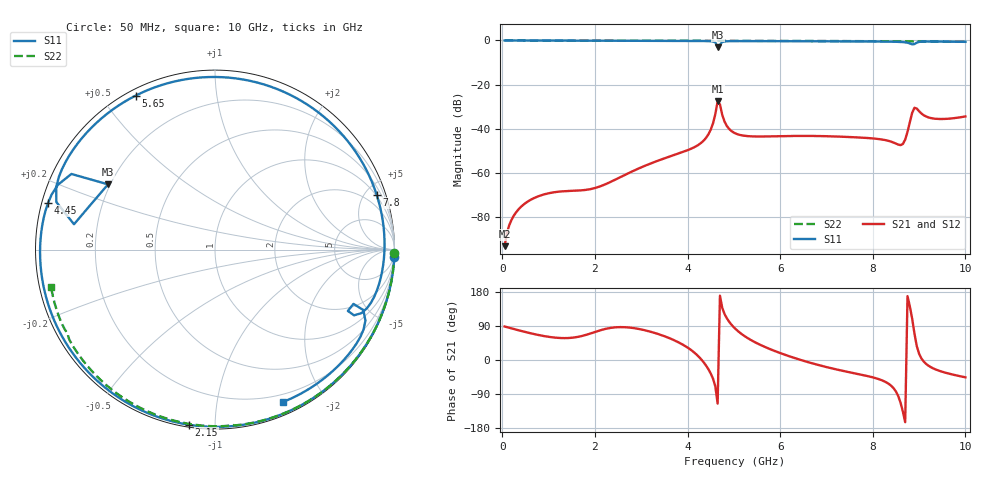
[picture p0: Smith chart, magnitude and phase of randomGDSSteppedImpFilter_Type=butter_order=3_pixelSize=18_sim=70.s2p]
! freq	dB(S11)	phase(S11)	dB(S12)	phase(S12)
!  dB(S21)	phase(S21)	dB(S22)	phase(S22)
!S-par simulation data
#  GHz  S  DB  R 50
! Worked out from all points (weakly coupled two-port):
!   200 points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, 50 MHz to 10 GHz, reference 50 ohm
!   highest |S21| = -27.58 dB at 4.65 GHz (marker M1); lowest = -93.1 dB at 50 MHz (marker M2)
!   lowest |S11| = -3.1 dB at 4.65 GHz (marker M3), VSWR 5.63, Z = 9.56 + j13.6 ohm
!   |S11| at or under -10 dB: nowhere
!   |S22| runs from -0.6 to 0.0 dB; largest |S21 - S12| = 0
!   S11 on the Smith chart (normalised r, x): 50 MHz: 0, -47; 2.15 GHz: 0.01, -0.86; 4.45 GHz: 0.02, +0.14; 5.65 GHz: 0.02, +0.61; 7.8 GHz: 0.93, +5.94; 10 GHz: 0.12, -1.53
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0.05  -0.00 -2.4  -93.14 88.4  -93.14 88.4  -0.00 -1.0
0.2  -0.01 -9.6  -81.17 83.4  -81.17 83.4  -0.01 -3.9
0.8  -0.05 -38.0  -70.38 65.5  -70.38 65.5  -0.02 -15.4
1.75  -0.10 -81.2  -67.78 64.3  -67.78 64.3  -0.04 -33.4
2.15  -0.12 -98.4  -65.77 79.6  -65.77 79.6  -0.05 -40.8
3.4  -0.18 -150.2  -54.14 67.2  -54.14 67.2  -0.08 -63.2
4.15  -0.23 178.6  -48.30 19.2  -48.30 19.2  -0.11 -76.1
4.45  -0.30 164.4  -42.52 -24.2  -42.52 -24.2  -0.12 -81.2
4.55  -0.47 157.6  -37.56 -49.1  -37.56 -49.1  -0.13 -82.9
4.65  -3.12 148.6  -27.58 -115.1  -27.58 -115.1  -0.18 -84.6
4.7  -1.96 169.8  -28.96 169.8  -28.96 169.8  -0.16 -85.0
4.85  -0.36 155.1  -38.75 109.7  -38.75 109.7  -0.14 -87.6
5.05  -0.29 144.6  -42.22 80.4  -42.22 80.4  -0.14 -90.9
5.65  -0.31 117.3  -43.48 35.5  -43.48 35.5  -0.17 -100.5
6.2  -0.34 92.2  -43.26 9.7  -43.26 9.7  -0.20 -109.1
6.7  -0.36 69.1  -43.23 -9.0  -43.23 -9.0  -0.23 -116.8
7.8  -0.44 18.7  -44.05 -40.1  -44.05 -40.1  -0.31 -133.5
8.35  -0.53 -5.5  -45.52 -63.4  -45.52 -63.4  -0.36 -141.8
8.65  -0.74 -18.8  -46.88 -136.2  -46.88 -136.2  -0.39 -146.4
8.9  -1.63 -21.4  -30.48 69.8  -30.48 69.8  -0.49 -150.2
9.3  -0.49 -40.0  -35.31 -21.8  -35.31 -21.8  -0.48 -156.1
10  -0.63 -65.9  -34.39 -45.7  -34.39 -45.7  -0.57 -167.2
